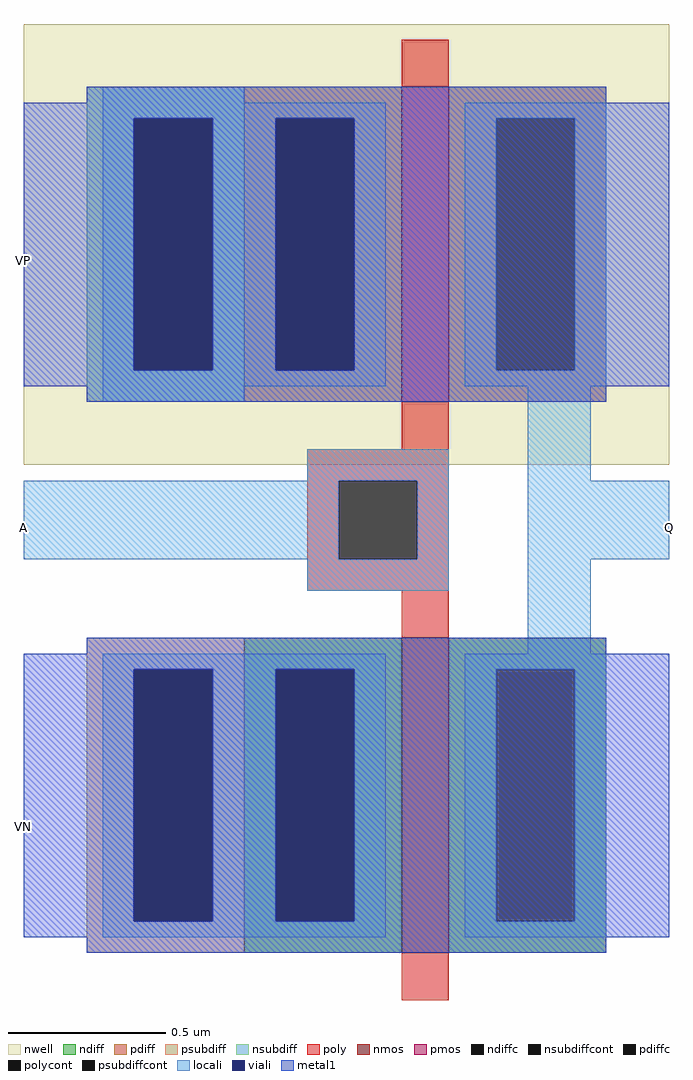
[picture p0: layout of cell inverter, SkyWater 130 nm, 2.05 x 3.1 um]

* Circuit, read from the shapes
.subckt inverter A Q VP VN
XM1 Q A VN VN sky130_fd_pr__nfet_01v8 w=1 l=0.15
XM2 Q A VP VP sky130_fd_pr__pfet_01v8 w=1 l=0.15
.ends

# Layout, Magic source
magic
tech sky130A
<< nwell >>
rect -120 150 85 290
<< nmos >>
rect 0 -5 15 95
<< pmos >>
rect 0 170 15 270
<< ndiff >>
rect -50 85 0 95
rect -50 5 -40 85
rect -15 5 0 85
rect -50 -5 0 5
rect 15 85 65 95
rect 15 5 30 85
rect 55 5 65 85
rect 15 -5 65 5
<< pdiff >>
rect -50 260 0 270
rect -50 180 -40 260
rect -15 180 0 260
rect -50 170 0 180
rect 15 260 65 270
rect 15 180 30 260
rect 55 180 65 260
rect 15 170 65 180
<< ndiffc >>
rect -40 5 -15 85
rect 30 5 55 85
<< pdiffc >>
rect -40 180 -15 260
rect 30 180 55 260
<< psubdiff >>
rect -100 85 -50 95
rect -100 5 -85 85
rect -60 5 -50 85
rect -100 -5 -50 5
<< nsubdiff >>
rect -100 260 -50 270
rect -100 180 -85 260
rect -60 180 -50 260
rect -100 170 -50 180
<< psubdiffcont >>
rect -85 5 -60 85
<< nsubdiffcont >>
rect -85 180 -60 260
<< poly >>
rect 0 270 15 285
rect 0 155 15 170
rect -30 145 15 155
rect -30 120 -20 145
rect 5 120 15 145
rect -30 110 15 120
rect 0 95 15 110
rect 0 -20 15 -5
<< polycont >>
rect -20 120 5 145
<< locali >>
rect -95 265 -50 270
rect -95 260 -5 265
rect -95 180 -85 260
rect -60 180 -40 260
rect -15 180 -5 260
rect -95 175 -5 180
rect 20 260 65 265
rect 20 180 30 260
rect 55 180 65 260
rect 20 175 65 180
rect -95 170 -50 175
rect -30 145 15 155
rect -120 120 -20 145
rect 5 120 15 145
rect -30 110 15 120
rect 40 145 60 175
rect 40 120 85 145
rect 40 90 60 120
rect -95 85 -5 90
rect -95 5 -85 85
rect -60 5 -40 85
rect -15 5 -5 85
rect -95 0 -5 5
rect 20 85 65 90
rect 20 5 30 85
rect 55 5 65 85
rect 20 0 65 5
<< viali >>
rect -85 180 -60 260
rect -40 180 -15 260
rect -85 5 -60 85
rect -40 5 -15 85
<< metal1 >>
rect -100 265 65 270
rect -120 260 85 265
rect -120 180 -85 260
rect -60 180 -40 260
rect -15 180 85 260
rect -120 175 85 180
rect -100 170 65 175
rect -100 90 65 95
rect -120 85 85 90
rect -120 5 -85 85
rect -60 5 -40 85
rect -15 5 85 85
rect -120 0 85 5
rect -100 -5 65 0
<< labels >>
rlabel locali -120 130 -120 130 7 A
port 1 w
rlabel locali 85 130 85 130 3 Q
port 2 e
rlabel metal1 -120 215 -120 215 7 VP
port 3 w
rlabel metal1 -120 35 -120 35 7 VN
port 4 w
<< end >>
